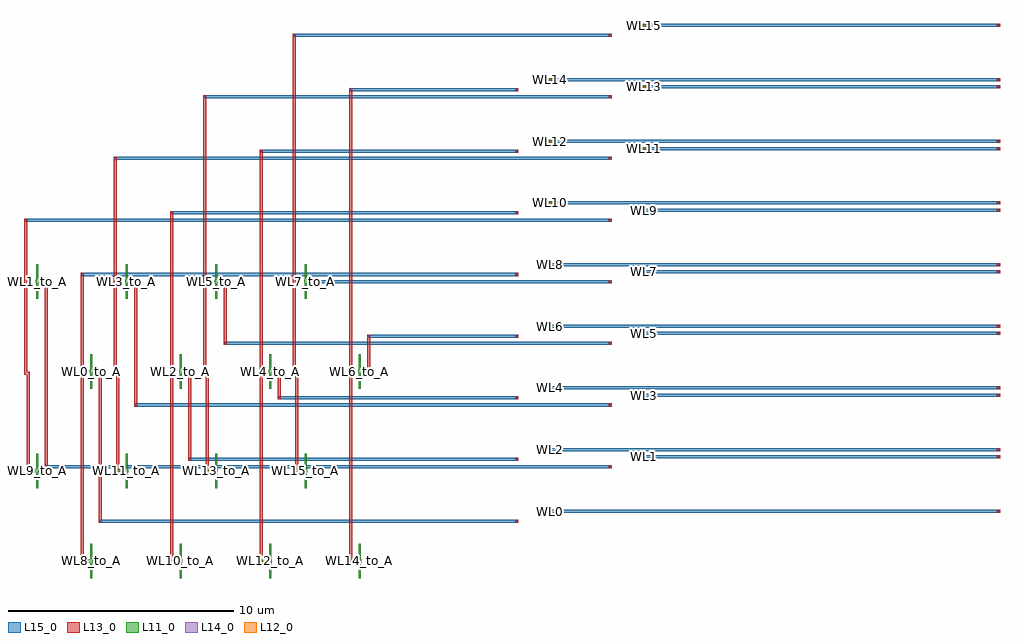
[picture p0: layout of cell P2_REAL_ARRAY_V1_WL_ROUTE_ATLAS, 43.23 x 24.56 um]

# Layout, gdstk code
import gdstk
lib = gdstk.Library(unit=1e-6, precision=1e-09)
def R(c, l, rs):  # rectangles x0, y0, x1, y1
    for r in rs: c.add(gdstk.rectangle(r[:2], r[2:], *l))
def A(c, l, x, y, w, h, nx, ny, dx, dy):  # array of equal rectangles
    R(c, l, [(x+i*dx, y+j*dy, x+i*dx+w, y+j*dy+h) for i in range(nx) for j in range(ny)])
L11_0 = (11, 0)
L12_0 = (12, 0)
L13_0 = (13, 0)
L14_0 = (14, 0)
L15_0 = (15, 0)

p2_real_array_v1_wl_rout = lib.new_cell('P2_REAL_ARRAY_V1_WL_ROUTE_ATLAS')
A(p2_real_array_v1_wl_rout, L11_0, 48.767, 0.17, 0.098, 1.525, 4, 2, 3.965, 8.4)
A(p2_real_array_v1_wl_rout, L11_0, 52.715, 9.265, 0.532, 0.135, 3, 1, 3.965, 0)
A(p2_real_array_v1_wl_rout, L11_0, 73.282, 10.977, 0.065, 0.066, 1, 3, 0, 2.73)
R(p2_real_array_v1_wl_rout, L11_0, [(48.347,0.865,48.885,1), (52.312,0.865,52.85,1), (56.278,0.865,56.815,1), (60.242,0.865,60.78,1), (69.088,3.072,69.222,3.207), (69.123,3.107,69.187,3.172), (46.375,4.157,46.472,5.682), (50.34,4.157,50.437,5.682), (54.305,4.157,54.403,5.682), (58.27,4.157,58.367,5.682), (45.958,4.852,46.49,4.987), (49.922,4.852,50.455,4.987), (53.888,4.852,54.42,4.987), (57.852,4.852,58.385,4.987), (73.248,5.482,73.382,5.617), (73.282,5.517,73.347,5.582), (69.088,5.803,69.222,5.937), (69.123,5.838,69.187,5.902), (73.248,8.213,73.382,8.348), (73.282,8.248,73.347,8.312), (69.088,8.533,69.222,8.668), (69.123,8.568,69.187,8.633), (48.748,9.265,49.282,9.4), (73.248,10.943,73.382,11.078), (69.088,11.262,69.222,11.398), (69.123,11.297,69.187,11.363), (46.375,12.557,46.472,14.082), (50.34,12.557,50.437,14.082), (54.305,12.557,54.403,14.082), (58.27,12.557,58.367,14.082), (46.355,13.252,46.892,13.387), (50.32,13.252,50.857,13.387), (54.285,13.252,54.82,13.387), (58.25,13.252,58.787,13.387), (73.248,13.672,73.382,13.807), (69.088,13.992,69.222,14.127), (69.123,14.027,69.187,14.092), (73.248,16.402,73.382,16.538), (69.088,16.723,69.222,16.858), (69.123,16.758,69.187,16.823), (73.248,19.132,73.382,19.267), (73.282,19.168,73.347,19.233), (69.088,19.453,69.222,19.587), (69.123,19.488,69.187,19.552), (73.248,21.863,73.382,21.997), (73.282,21.898,73.347,21.962), (69.088,22.183,69.222,22.317), (69.123,22.218,69.187,22.282), (73.248,24.593,73.382,24.727), (73.282,24.628,73.347,24.692)])
A(p2_real_array_v1_wl_rout, L12_0, 48.382, 0.9, 0.065, 0.065, 3, 1, 3.965, 0)
A(p2_real_array_v1_wl_rout, L12_0, 53.147, 9.3, 0.065, 0.065, 3, 1, 3.965, 0)
A(p2_real_array_v1_wl_rout, L12_0, 73.282, 10.977, 0.065, 0.066, 1, 3, 0, 2.73)
R(p2_real_array_v1_wl_rout, L12_0, [(60.278,0.9,60.342,0.965), (69.123,3.107,69.187,3.172), (45.992,4.888,46.057,4.952), (49.958,4.888,50.022,4.952), (53.922,4.888,53.987,4.952), (57.887,4.888,57.952,4.952), (73.282,5.517,73.347,5.582), (69.123,5.838,69.187,5.902), (73.282,8.248,73.347,8.312), (69.123,8.568,69.187,8.633), (49.182,9.3,49.248,9.365), (69.123,11.297,69.187,11.363), (46.792,13.287,46.858,13.352), (50.757,13.287,50.822,13.352), (54.72,13.287,54.785,13.352), (58.687,13.287,58.752,13.352), (69.123,14.027,69.187,14.092), (69.123,16.758,69.187,16.823), (73.282,19.168,73.347,19.233), (69.123,19.488,69.187,19.552), (73.282,21.898,73.347,21.962), (69.123,22.218,69.187,22.282), (73.282,24.628,73.347,24.692)])
A(p2_real_array_v1_wl_rout, L13_0, 67.585, 2.635, 0.135, 0.135, 1, 8, 0, 2.73)
A(p2_real_array_v1_wl_rout, L13_0, 71.745, 5.045, 0.135, 0.135, 1, 8, 0, 2.73)
A(p2_real_array_v1_wl_rout, L13_0, 71.778, 5.077, 0.069, 0.07, 1, 8, 0, 2.73)
A(p2_real_array_v1_wl_rout, L13_0, 67.618, 8.127, 0.069, 0.07, 1, 6, 0, 2.73)
A(p2_real_array_v1_wl_rout, L13_0, 45.835, 9.182, 0.257, 0.136, 4, 1, 3.965, 0)
R(p2_real_array_v1_wl_rout, L13_0, [(48.347,0.865,48.482,13.69), (52.312,0.865,52.447,16.42), (56.278,0.865,56.412,19.15), (60.242,0.865,60.377,21.88), (49.147,2.635,49.282,9.4), (67.618,2.667,67.687,2.737), (69.088,3.072,69.222,3.207), (88.933,3.072,89.067,3.207), (88.965,3.105,89.035,3.175), (45.958,4.852,46.092,9.318), (49.922,4.852,50.057,9.318), (53.888,4.852,54.022,9.318), (57.852,4.852,57.987,9.318), (46.757,5.045,46.892,13.387), (53.112,5.365,53.247,9.4), (67.618,5.397,67.687,5.468), (73.248,5.482,73.382,5.617), (88.933,5.482,89.067,5.617), (88.965,5.515,89.035,5.585), (69.088,5.803,69.222,5.937), (88.933,5.803,89.067,5.937), (88.965,5.835,89.035,5.905), (50.722,7.775,50.857,13.387), (57.077,8.095,57.212,9.4), (73.248,8.213,73.382,8.348), (88.933,8.213,89.067,8.348), (88.965,8.245,89.035,8.315), (69.088,8.533,69.222,8.668), (88.933,8.533,89.067,8.668), (88.965,8.565,89.035,8.635), (45.835,9.182,45.97,16.1), (49.8,9.182,49.935,18.83), (53.765,9.182,53.9,21.56), (57.73,9.182,57.865,24.29), (61.042,9.265,61.177,10.96), (54.685,10.505,54.82,13.387), (73.248,10.943,73.382,11.078), (88.933,10.943,89.067,11.078), (88.965,10.975,89.035,11.045), (69.088,11.262,69.222,11.398), (88.933,11.262,89.067,11.398), (88.965,11.295,89.035,11.365), (58.653,13.235,58.787,13.387), (73.248,13.672,73.382,13.807), (88.933,13.672,89.067,13.807), (88.965,13.705,89.035,13.775), (69.088,13.992,69.222,14.127), (88.933,13.992,89.067,14.127), (88.965,14.025,89.035,14.095), (73.248,16.402,73.382,16.538), (88.933,16.402,89.067,16.538), (88.965,16.435,89.035,16.505), (69.088,16.723,69.222,16.858), (88.933,16.723,89.067,16.858), (88.965,16.755,89.035,16.825), (73.248,19.132,73.382,19.267), (88.933,19.132,89.067,19.267), (88.965,19.165,89.035,19.235), (69.088,19.453,69.222,19.587), (88.933,19.453,89.067,19.587), (88.965,19.485,89.035,19.555), (73.248,21.863,73.382,21.997), (88.933,21.863,89.067,21.997), (88.965,21.895,89.035,21.965), (69.088,22.183,69.222,22.317), (88.933,22.183,89.067,22.317), (88.965,22.215,89.035,22.285), (73.248,24.593,73.382,24.727), (88.933,24.593,89.067,24.727), (88.965,24.625,89.035,24.695)])
A(p2_real_array_v1_wl_rout, L14_0, 67.62, 2.67, 0.065, 0.065, 1, 8, 0, 2.73)
A(p2_real_array_v1_wl_rout, L14_0, 71.78, 5.08, 0.065, 0.065, 1, 8, 0, 2.73)
A(p2_real_array_v1_wl_rout, L14_0, 73.282, 10.977, 0.065, 0.066, 1, 3, 0, 2.73)
R(p2_real_array_v1_wl_rout, L14_0, [(49.182,2.67,49.248,2.735), (69.123,3.107,69.187,3.172), (88.967,3.107,89.032,3.172), (46.792,5.08,46.858,5.145), (53.147,5.4,53.212,5.465), (73.282,5.517,73.347,5.582), (88.967,5.517,89.032,5.582), (69.123,5.838,69.187,5.902), (88.967,5.838,89.032,5.902), (50.757,7.81,50.822,7.875), (57.112,8.13,57.177,8.195), (73.282,8.248,73.347,8.312), (88.967,8.248,89.032,8.312), (69.123,8.568,69.187,8.633), (88.967,8.568,89.032,8.633), (54.72,10.54,54.785,10.605), (61.077,10.86,61.142,10.925), (88.967,10.977,89.032,11.043), (69.123,11.297,69.187,11.363), (88.967,11.297,89.032,11.363), (58.687,13.27,58.752,13.335), (48.382,13.59,48.447,13.655), (88.967,13.707,89.032,13.773), (69.123,14.027,69.187,14.092), (88.967,14.027,89.032,14.092), (45.87,16,45.935,16.065), (52.347,16.32,52.412,16.385), (88.967,16.437,89.032,16.503), (69.123,16.758,69.187,16.823), (88.967,16.758,89.032,16.823), (49.835,18.73,49.9,18.795), (56.312,19.05,56.377,19.115), (73.282,19.168,73.347,19.233), (88.967,19.168,89.032,19.233), (69.123,19.488,69.187,19.552), (88.967,19.488,89.032,19.552), (53.8,21.46,53.865,21.525), (60.278,21.78,60.342,21.845), (73.282,21.898,73.347,21.962), (88.967,21.898,89.032,21.962), (69.123,22.218,69.187,22.282), (88.967,22.218,89.032,22.282), (57.765,24.19,57.83,24.255), (73.282,24.628,73.347,24.692), (88.967,24.628,89.032,24.692)])
R(p2_real_array_v1_wl_rout, L15_0, [(49.147,2.635,67.72,2.77), (69.088,3.072,89.067,3.207), (46.757,5.045,71.88,5.18), (53.112,5.365,67.72,5.5), (73.248,5.482,89.067,5.617), (69.088,5.803,89.067,5.937), (50.722,7.775,71.88,7.91), (57.077,8.095,67.72,8.23), (73.248,8.213,89.067,8.348), (69.088,8.533,89.067,8.668), (54.685,10.505,71.88,10.64), (61.042,10.825,67.72,10.96), (73.248,10.943,89.067,11.078), (69.088,11.262,89.067,11.398), (58.653,13.235,71.88,13.37), (48.347,13.555,67.72,13.69), (73.248,13.672,89.067,13.807), (69.088,13.992,89.067,14.127), (45.835,15.965,71.88,16.1), (52.312,16.285,67.72,16.42), (73.248,16.402,89.067,16.538), (69.088,16.723,89.067,16.858), (49.8,18.695,71.88,18.83), (56.278,19.015,67.72,19.15), (73.248,19.132,89.067,19.267), (69.088,19.453,89.067,19.587), (53.765,21.425,71.88,21.56), (60.242,21.745,67.72,21.88), (73.248,21.863,89.067,21.997), (69.088,22.183,89.067,22.317), (57.73,24.155,71.88,24.29), (73.248,24.593,89.067,24.727)])
p2_real_array_v1_wl_rout.add(gdstk.Label('WL0_to_A', (48.816,9.332), layer=239, texttype=0))
p2_real_array_v1_wl_rout.add(gdstk.Label('WL1_to_A', (46.424,13.32), layer=239, texttype=0))
p2_real_array_v1_wl_rout.add(gdstk.Label('WL2_to_A', (52.781,9.332), layer=239, texttype=0))
p2_real_array_v1_wl_rout.add(gdstk.Label('WL3_to_A', (50.389,13.32), layer=239, texttype=0))
p2_real_array_v1_wl_rout.add(gdstk.Label('WL4_to_A', (56.746,9.332), layer=239, texttype=0))
p2_real_array_v1_wl_rout.add(gdstk.Label('WL5_to_A', (54.354,13.32), layer=239, texttype=0))
p2_real_array_v1_wl_rout.add(gdstk.Label('WL6_to_A', (60.711,9.332), layer=239, texttype=0))
p2_real_array_v1_wl_rout.add(gdstk.Label('WL7_to_A', (58.319,13.32), layer=239, texttype=0))
p2_real_array_v1_wl_rout.add(gdstk.Label('WL8_to_A', (48.816,0.932), layer=239, texttype=0))
p2_real_array_v1_wl_rout.add(gdstk.Label('WL9_to_A', (46.424,4.92), layer=239, texttype=0))
p2_real_array_v1_wl_rout.add(gdstk.Label('WL10_to_A', (52.781,0.932), layer=239, texttype=0))
p2_real_array_v1_wl_rout.add(gdstk.Label('WL11_to_A', (50.389,4.92), layer=239, texttype=0))
p2_real_array_v1_wl_rout.add(gdstk.Label('WL12_to_A', (56.746,0.932), layer=239, texttype=0))
p2_real_array_v1_wl_rout.add(gdstk.Label('WL13_to_A', (54.354,4.92), layer=239, texttype=0))
p2_real_array_v1_wl_rout.add(gdstk.Label('WL14_to_A', (60.711,0.932), layer=239, texttype=0))
p2_real_array_v1_wl_rout.add(gdstk.Label('WL15_to_A', (58.319,4.92), layer=239, texttype=0))
p2_real_array_v1_wl_rout.add(gdstk.Label('WL0', (69.155,3.14), layer=239, texttype=0))
p2_real_array_v1_wl_rout.add(gdstk.Label('WL1', (73.315,5.55), layer=239, texttype=0))
p2_real_array_v1_wl_rout.add(gdstk.Label('WL2', (69.155,5.87), layer=239, texttype=0))
p2_real_array_v1_wl_rout.add(gdstk.Label('WL3', (73.315,8.28), layer=239, texttype=0))
p2_real_array_v1_wl_rout.add(gdstk.Label('WL4', (69.155,8.6), layer=239, texttype=0))
p2_real_array_v1_wl_rout.add(gdstk.Label('WL5', (73.315,11.01), layer=239, texttype=0))
p2_real_array_v1_wl_rout.add(gdstk.Label('WL6', (69.155,11.33), layer=239, texttype=0))
p2_real_array_v1_wl_rout.add(gdstk.Label('WL7', (73.315,13.74), layer=239, texttype=0))
p2_real_array_v1_wl_rout.add(gdstk.Label('WL8', (69.155,14.06), layer=239, texttype=0))
p2_real_array_v1_wl_rout.add(gdstk.Label('WL9', (73.315,16.47), layer=239, texttype=0))
p2_real_array_v1_wl_rout.add(gdstk.Label('WL10', (69.155,16.79), layer=239, texttype=0))
p2_real_array_v1_wl_rout.add(gdstk.Label('WL11', (73.315,19.2), layer=239, texttype=0))
p2_real_array_v1_wl_rout.add(gdstk.Label('WL12', (69.155,19.52), layer=239, texttype=0))
p2_real_array_v1_wl_rout.add(gdstk.Label('WL13', (73.315,21.93), layer=239, texttype=0))
p2_real_array_v1_wl_rout.add(gdstk.Label('WL14', (69.155,22.25), layer=239, texttype=0))
p2_real_array_v1_wl_rout.add(gdstk.Label('WL15', (73.315,24.66), layer=239, texttype=0))

lib.write_gds('P2_REAL_ARRAY_V1_WL_ROUTE_ATLAS.gds')
